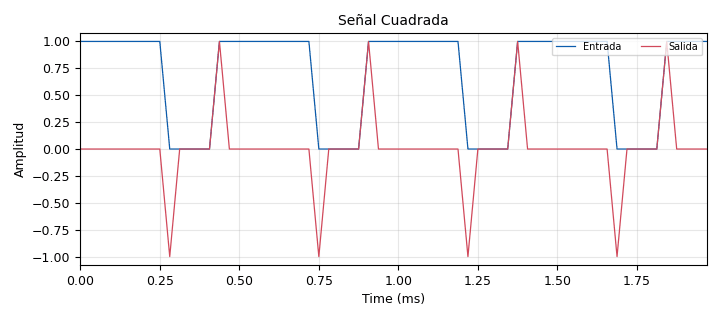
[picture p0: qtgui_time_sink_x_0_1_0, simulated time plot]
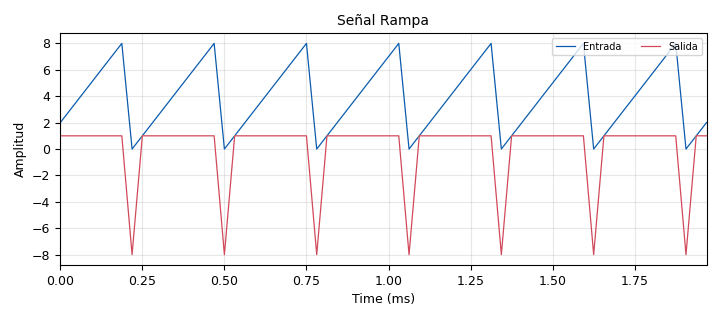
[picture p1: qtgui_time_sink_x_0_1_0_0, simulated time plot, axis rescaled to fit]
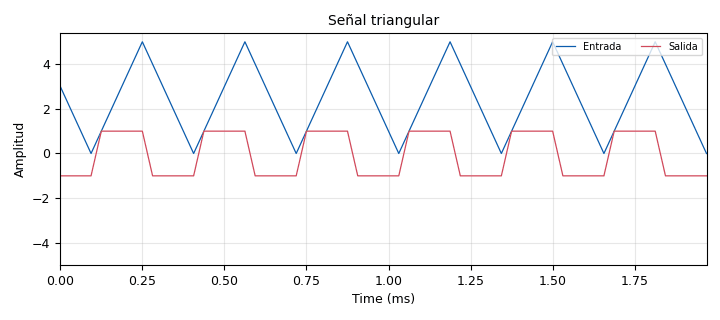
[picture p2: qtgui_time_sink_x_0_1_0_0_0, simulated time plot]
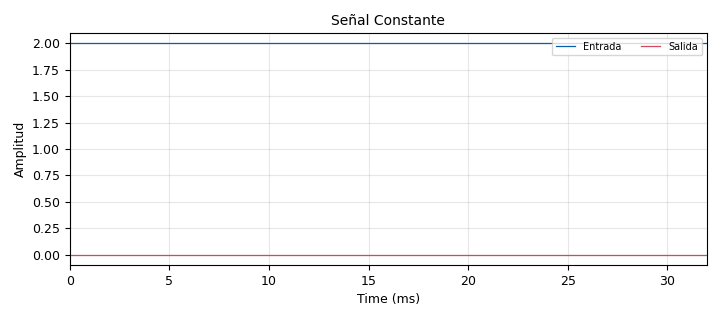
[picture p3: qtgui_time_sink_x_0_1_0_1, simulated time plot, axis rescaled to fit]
options:
  parameters:
    generate_options: qt_gui
    id: dif
    output_language: python
    title: diferenciador
  states: {}

blocks:
- name: samp_rate
  id: variable
  parameters:
    value: '32000'
  states: {}
- name: blocks_throttle2_0_0
  id: blocks_throttle2
  parameters:
    samples_per_second: samp_rate
    type: float
  states: {}
- name: blocks_throttle2_0_0_0
  id: blocks_throttle2
  parameters:
    samples_per_second: samp_rate
    type: float
  states: {}
- name: blocks_throttle2_0_0_1
  id: blocks_throttle2
  parameters:
    samples_per_second: samp_rate
    type: float
  states: {}
- name: blocks_throttle2_0_0_2
  id: blocks_throttle2
  parameters:
    samples_per_second: samp_rate
    type: float
  states: {}
- name: blocks_vector_source_x_0
  id: blocks_vector_source_x
  parameters:
    repeat: 'True'
    type: float
    vector: (1,2,3,4,5,6,7,8,0)
  states: {}
- name: blocks_vector_source_x_0_0
  id: blocks_vector_source_x
  parameters:
    repeat: 'True'
    type: float
    vector: (1,1,1,1,1,1,1,1,1,1,0,0,0,0,0)
  states: {}
- name: blocks_vector_source_x_0_1
  id: blocks_vector_source_x
  parameters:
    repeat: 'True'
    type: float
    vector: (2,2)
  states: {}
- name: blocks_vector_source_x_0_2
  id: blocks_vector_source_x
  parameters:
    repeat: 'True'
    type: float
    vector: (1,2,3,4,5,4,3,2,1,0)
  states: {}
- name: epy_block_0
  id: epy_block
  parameters:
    _source_code: |-
      """
      Jeferson Uribe Correa
      """
      import numpy as np
      from gnuradio import gr

      class blk(gr.sync_block):
          def __init__(self):
              gr.sync_block.__init__(
                  self,
                  name='Diferenciador', # Nombre del bloq
                  in_sig=[np.float32],
                  out_sig=[np.float32]
              )
              self.last_sample = 0

          def work(self, input_items, output_items):
              x = input_items[0]   # Entrada
              y0 = output_items[0] # Salida

              y0[0] = x[0] - self.last_sample

              for i in range(1, len(x)):
                  y0[i] = x[i] - x[i-1]

              self.last_sample = x[-1]

              return len(y0)
  states: {}
- name: epy_block_0_0
  id: epy_block
  parameters:
    _source_code: |-
      """
      Jeferson Uribe Correa
      """
      import numpy as np
      from gnuradio import gr

      class blk(gr.sync_block):
          def __init__(self):
              gr.sync_block.__init__(
                  self,
                  name='Diferenciador', # Nombre del bloq
                  in_sig=[np.float32],
                  out_sig=[np.float32]
              )
              self.last_sample = 0

          def work(self, input_items, output_items):
              x = input_items[0]   # Entrada
              y0 = output_items[0] # Salida

              y0[0] = x[0] - self.last_sample

              for i in range(1, len(x)):
                  y0[i] = x[i] - x[i-1]

              self.last_sample = x[-1]

              return len(y0)
  states: {}
- name: epy_block_0_1
  id: epy_block
  parameters:
    _source_code: |-
      """
      Jeferson Uribe Correa
      """
      import numpy as np
      from gnuradio import gr

      class blk(gr.sync_block):
          def __init__(self):
              gr.sync_block.__init__(
                  self,
                  name='Diferenciador', # Nombre del bloq
                  in_sig=[np.float32],
                  out_sig=[np.float32]
              )
              self.last_sample = 0

          def work(self, input_items, output_items):
              x = input_items[0]   # Entrada
              y0 = output_items[0] # Salida

              y0[0] = x[0] - self.last_sample

              for i in range(1, len(x)):
                  y0[i] = x[i] - x[i-1]

              self.last_sample = x[-1]

              return len(y0)
  states: {}
- name: epy_block_0_2
  id: epy_block
  parameters:
    _source_code: |-
      """
      Jeferson Uribe Correa
      """
      import numpy as np
      from gnuradio import gr

      class blk(gr.sync_block):
          def __init__(self):
              gr.sync_block.__init__(
                  self,
                  name='Diferenciador', # Nombre del bloq
                  in_sig=[np.float32],
                  out_sig=[np.float32]
              )
              self.last_sample = 0

          def work(self, input_items, output_items):
              x = input_items[0]   # Entrada
              y0 = output_items[0] # Salida

              y0[0] = x[0] - self.last_sample

              for i in range(1, len(x)):
                  y0[i] = x[i] - x[i-1]

              self.last_sample = x[-1]

              return len(y0)
  states: {}
- name: note_0
  id: note
  parameters:
    note: Señal Rampa
  states: {}
- name: note_0_0
  id: note
  parameters:
    note: Señal Cuadrada
  states: {}
- name: note_0_1
  id: note
  parameters:
    note: Señal Constante
  states: {}
- name: note_0_2
  id: note
  parameters:
    note: señal_triangular
  states: {}
- name: qtgui_time_sink_x_0_1_0
  id: qtgui_time_sink_x
  parameters:
    ctrlpanel: 'True'
    label1: Entrada
    label2: Salida
    name: '"Señal Cuadrada"'
    nconnections: '2'
    size: '64'
    srate: samp_rate
    type: float
    ylabel: Amplitud
  states: {}
- name: qtgui_time_sink_x_0_1_0_0
  id: qtgui_time_sink_x
  parameters:
    ctrlpanel: 'True'
    label1: Entrada
    label2: Salida
    name: '"Señal Rampa"'
    nconnections: '2'
    size: '64'
    srate: samp_rate
    type: float
    ylabel: Amplitud
    ymax: '5'
    ymin: '-5'
  states: {}
- name: qtgui_time_sink_x_0_1_0_0_0
  id: qtgui_time_sink_x
  parameters:
    ctrlpanel: 'True'
    label1: Entrada
    label2: Salida
    name: '"Señal triangular"'
    nconnections: '2'
    size: '64'
    srate: samp_rate
    type: float
    ylabel: Amplitud
    ymax: '5'
    ymin: '-5'
  states: {}
- name: qtgui_time_sink_x_0_1_0_1
  id: qtgui_time_sink_x
  parameters:
    ctrlpanel: 'True'
    label1: Entrada
    label2: Salida
    name: '"Señal Constante"'
    nconnections: '2'
    size: '1024'
    srate: samp_rate
    type: float
    ylabel: Amplitud
  states: {}

connections:
- [blocks_throttle2_0_0, '0', qtgui_time_sink_x_0_1_0_0, '1']
- [blocks_throttle2_0_0_0, '0', qtgui_time_sink_x_0_1_0, '1']
- [blocks_throttle2_0_0_1, '0', qtgui_time_sink_x_0_1_0_1, '1']
- [blocks_throttle2_0_0_2, '0', qtgui_time_sink_x_0_1_0_0_0, '1']
- [blocks_vector_source_x_0, '0', epy_block_0, '0']
- [blocks_vector_source_x_0, '0', qtgui_time_sink_x_0_1_0_0, '0']
- [blocks_vector_source_x_0_0, '0', epy_block_0_0, '0']
- [blocks_vector_source_x_0_0, '0', qtgui_time_sink_x_0_1_0, '0']
- [blocks_vector_source_x_0_1, '0', epy_block_0_1, '0']
- [blocks_vector_source_x_0_1, '0', qtgui_time_sink_x_0_1_0_1, '0']
- [blocks_vector_source_x_0_2, '0', epy_block_0_2, '0']
- [blocks_vector_source_x_0_2, '0', qtgui_time_sink_x_0_1_0_0_0, '0']
- [epy_block_0, '0', blocks_throttle2_0_0, '0']
- [epy_block_0_0, '0', blocks_throttle2_0_0_0, '0']
- [epy_block_0_1, '0', blocks_throttle2_0_0_1, '0']
- [epy_block_0_2, '0', blocks_throttle2_0_0_2, '0']

metadata:
  file_format: 1
  grc_version: 3.10.12.0
